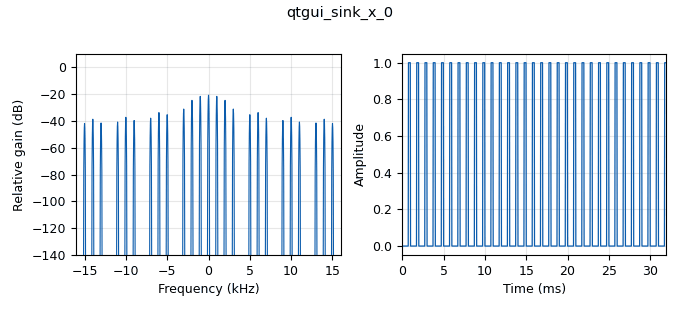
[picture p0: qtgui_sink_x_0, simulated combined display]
<?xml version='1.0' encoding='utf-8'?>
<?grc format='1' created='3.7.11'?>
<flow_graph>
<block>
<key>options</key>
<param><key>id</key><value>top_block</value></param>
<param><key>generate_options</key><value>qt_gui</value></param>
</block>
<block>
<key>variable_qtgui_range</key>
<param><key>id</key><value>dc</value></param>
<param><key>value</key><value>25</value></param>
<param><key>orient</key><value>Qt.Horizontal</value></param>
<param><key>start</key><value>0</value></param>
<param><key>step</key><value>1</value></param>
<param><key>stop</key><value>100</value></param>
<param><key>rangeType</key><value>int</value></param>
</block>
<block>
<key>variable_qtgui_range</key>
<param><key>id</key><value>f</value></param>
<param><key>value</key><value>1000</value></param>
<param><key>orient</key><value>Qt.Horizontal</value></param>
<param><key>start</key><value>0</value></param>
<param><key>step</key><value>100</value></param>
<param><key>stop</key><value>5000</value></param>
<param><key>rangeType</key><value>int</value></param>
</block>
<block>
<key>variable</key>
<param><key>id</key><value>k0</value></param>
<param><key>value</key><value>((100-dc)*samp_rate)/(f*100)</value></param>
</block>
<block>
<key>variable</key>
<param><key>id</key><value>k1</value></param>
<param><key>value</key><value>(dc*samp_rate)/(f*100)</value></param>
</block>
<block>
<key>variable</key>
<param><key>id</key><value>samp_rate</value></param>
<param><key>value</key><value>32000</value></param>
</block>
<block>
<key>blocks_throttle</key>
<param><key>id</key><value>blocks_throttle_0</value></param>
<param><key>samples_per_second</key><value>samp_rate</value></param>
<param><key>type</key><value>float</value></param>
</block>
<block>
<key>blocks_vector_source_x</key>
<param><key>id</key><value>blocks_vector_source_x_0</value></param>
<param><key>type</key><value>float</value></param>
<param><key>repeat</key><value>True</value></param>
<param><key>vector</key><value>np.hstack((np.zeros(k0), np.ones(k1)))</value></param>
</block>
<block>
<key>import</key>
<param><key>id</key><value>np</value></param>
<param><key>import</key><value>import numpy as np</value></param>
</block>
<block>
<key>qtgui_sink_x</key>
<param><key>id</key><value>qtgui_sink_x_0</value></param>
<param><key>bw</key><value>samp_rate</value></param>
<param><key>fc</key><value>0</value></param>
<param><key>freqchangevar</key><value>None</value></param>
<param><key>fftsize</key><value>1024</value></param>
<param><key>showports</key><value>True</value></param>
<param><key>type</key><value>float</value></param>
<param><key>wintype</key><value>firdes.WIN_BLACKMAN_hARRIS</value></param>
</block>
<connection><source_block_id>blocks_throttle_0</source_block_id><sink_block_id>qtgui_sink_x_0</sink_block_id><source_key>0</source_key><sink_key>0</sink_key></connection>
<connection><source_block_id>blocks_vector_source_x_0</source_block_id><sink_block_id>blocks_throttle_0</sink_block_id><source_key>0</source_key><sink_key>0</sink_key></connection>
</flow_graph>
